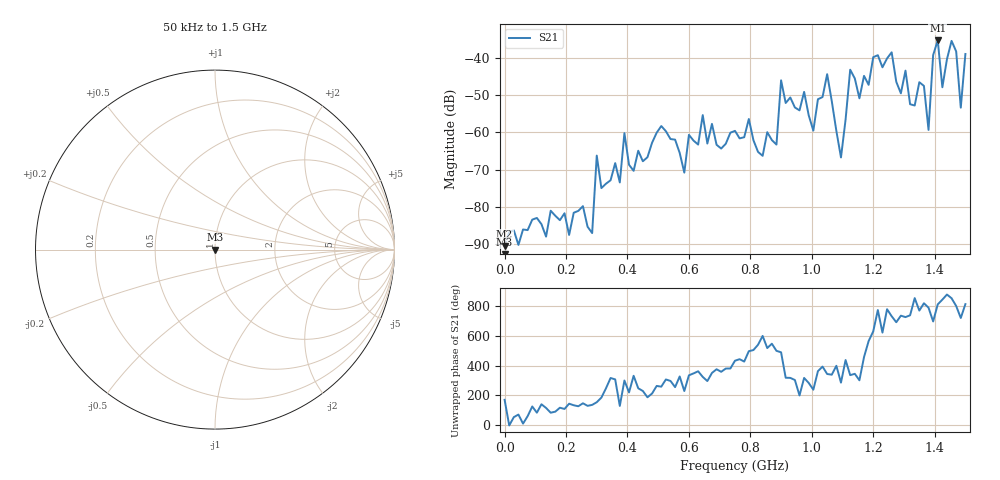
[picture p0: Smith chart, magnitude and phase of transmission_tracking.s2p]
! Created with skrf 1.8.0 (http://scikit-rf.org).
# Hz S RI R 50.0
!freq ReS11 ImS11 ReS21 ImS21 ReS12 ImS12 ReS22 ImS22
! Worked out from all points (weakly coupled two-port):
!   101 points, 50 kHz to 1.5 GHz, reference 50 ohm
!   highest |S21| = -35.26 dB at 1.41 GHz (marker M1); lowest = -90.6 dB at 50 kHz (marker M2)
!   lowest |S11| = - dB at 50 kHz (marker M3), VSWR 1.00, Z = 50 + j0 ohm
!   |S11| at or under -10 dB: start of sweep to end of sweep
!   S12 and S22 are empty: the file has one direction only
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50000  0 0  -2.91e-05 5.59e-06  0 0  0 0
2.550415e8  0 0  -8.44e-05 5.75e-05  0 0  0 0
3.0004e8  0 0  -0.000435 0.000223  0 0  0 0
3.750375e8  0 0  -0.00013 0.000168  0 0  0 0
3.90037e8  0 0  0.000478 -0.000855  0 0  0 0
5.10033e8  0 0  -0.000258 -0.00119  0 0  0 0
5.850305e8  0 0  -0.000192 -0.000215  0 0  0 0
6.450285e8  0 0  0.00138 -0.00102  0 0  0 0
7.50025e8  0 0  0.00031 0.001  0 0  0 0
8.850205e8  0 0  -0.00052 0.00045  0 0  0 0
9.0002e8  0 0  -0.00319 0.00389  0 0  0 0
1.005016e9  0 0  -0.000571 -0.000891  0 0  0 0
1.050015e9  0 0  0.00581 -0.00178  0 0  0 0
1.095014e9  0 0  0.000119 -0.000445  0 0  0 0
1.125012e9  0 0  0.00635 -0.00291  0 0  0 0
1.260008e9  0 0  0.0117 0.00257  0 0  0 0
1.380004e9  0 0  0.000367 0.00102  0 0  0 0
1.410003e9  0 0  -0.000738 0.0172  0 0  0 0
1.425002e9  0 0  -0.00229 0.00334  0 0  0 0
1.470001e9  0 0  0.00182 0.0122  0 0  0 0
1.485e9  0 0  0.00216 2.74e-05  0 0  0 0
1.5e9  0 0  -0.00081 0.0113  0 0  0 0
